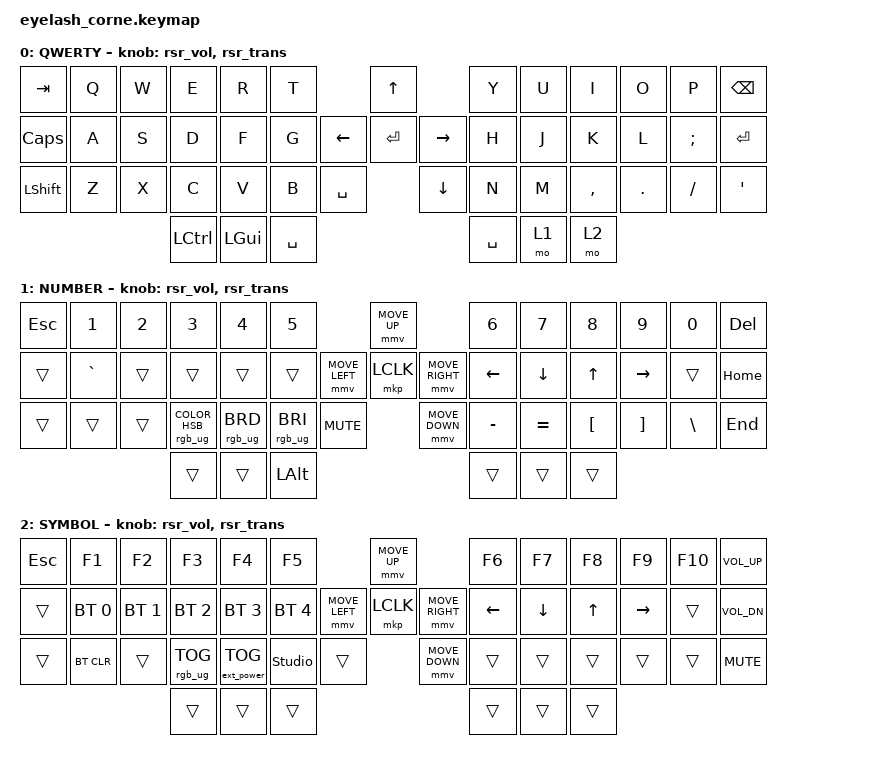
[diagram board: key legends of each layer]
#define ZMK_POINTING_DEFAULT_MOVE_VAL 1200  // 600
#define ZMK_POINTING_DEFAULT_SCRL_VAL 25   // 10

#include <input/processors.dtsi>
#include <zephyr/dt-bindings/input/input-event-codes.h>
#include <behaviors/runtime-sensor-rotate.dtsi>
#include <behaviors.dtsi>
#include <dt-bindings/zmk/bt.h>
#include <dt-bindings/zmk/ext_power.h>
#include <dt-bindings/zmk/keys.h>
#include <dt-bindings/zmk/pointing.h>
#include <dt-bindings/zmk/rgb.h>

/ {
    behaviors {
        rsr_vol: rsr_vol {
            compatible = "zmk,behavior-runtime-sensor-rotate";
            #sensor-binding-cells = <0>;
            tap-ms = <5>;
            cw-binding = <&kp C_VOL_UP>;
            ccw-binding = <&kp C_VOL_DN>;
        };

        rsr_trans: rsr_trans {
            compatible = "zmk,behavior-runtime-sensor-rotate";
            #sensor-binding-cells = <0>;
            tap-ms = <0>;
        };
    };

    keymap {
        compatible = "zmk,keymap";

        default_layer {
            display-name = "QWERTY";
            bindings = <
&kp TAB         &kp Q  &kp W  &kp E      &kp R         &kp T                             &kp UP                &kp Y      &kp U  &kp I      &kp O    &kp P     &kp BSPC
&kp CAPS        &kp A  &kp S  &kp D      &kp F         &kp G                   &kp LEFT  &kp ENTER  &kp RIGHT  &kp H      &kp J  &kp K      &kp L    &kp SEMI  &kp ENTER
&kp LEFT_SHIFT  &kp Z  &kp X  &kp C      &kp V         &kp B      &kp SPACE              &kp DOWN              &kp N      &kp M  &kp COMMA  &kp DOT  &kp FSLH  &kp APOS
                              &kp LCTRL  &kp LEFT_GUI  &kp SPACE                                               &kp SPACE  &mo 1  &mo 2
            >;

            sensor-bindings = <&rsr_vol &rsr_trans>;
        };

        lower_layer {
            display-name = "NUMBER";
            bindings = <
&kp ESCAPE  &kp N1     &kp N2  &kp N3                          &kp N4           &kp N5                                         &mmv MOVE_UP                     &kp N6     &kp N7     &kp N8            &kp N9             &kp N0         &kp DEL
&trans      &kp GRAVE  &trans  &trans                          &trans           &trans                         &mmv MOVE_LEFT  &mkp LCLK       &mmv MOVE_RIGHT  &kp LEFT   &kp DOWN   &kp UP            &kp RIGHT          &trans         &kp HOME
&trans      &trans     &trans  &rgb_ug RGB_COLOR_HSB(0,0,100)  &rgb_ug RGB_BRD  &rgb_ug RGB_BRI  &kp C_MUTE                    &mmv MOVE_DOWN                   &kp MINUS  &kp EQUAL  &kp LEFT_BRACKET  &kp RIGHT_BRACKET  &kp BACKSLASH  &kp END
                               &trans                          &trans           &kp LEFT_ALT                                                                    &trans     &trans     &trans
            >;

            sensor-bindings = <&rsr_vol &rsr_trans>;
        };

        raise_layer {
            display-name = "SYMBOL";
            bindings = <
&kp ESCAPE  &kp F1        &kp F2        &kp F3           &kp F4             &kp F5                                    &mmv MOVE_UP                     &kp F6    &kp F7    &kp F8        &kp F9     &kp F10  &kp K_VOL_UP
&trans      &bt BT_SEL 0  &bt BT_SEL 1  &bt BT_SEL 2     &bt BT_SEL 3       &bt BT_SEL 4              &mmv MOVE_LEFT  &mkp LCLK       &mmv MOVE_RIGHT  &kp LEFT  &kp DOWN  &kp UP_ARROW  &kp RIGHT  &trans   &kp K_VOL_DN
&trans      &bt BT_CLR    &trans        &rgb_ug RGB_TOG  &ext_power EP_TOG  &studio_unlock  &trans                    &mmv MOVE_DOWN                   &trans    &trans    &trans        &trans     &trans   &kp K_MUTE
                                        &trans           &trans             &trans                                                                     &trans    &trans    &trans
            >;

            sensor-bindings = <&rsr_vol &rsr_trans>;
        };
    };
};
